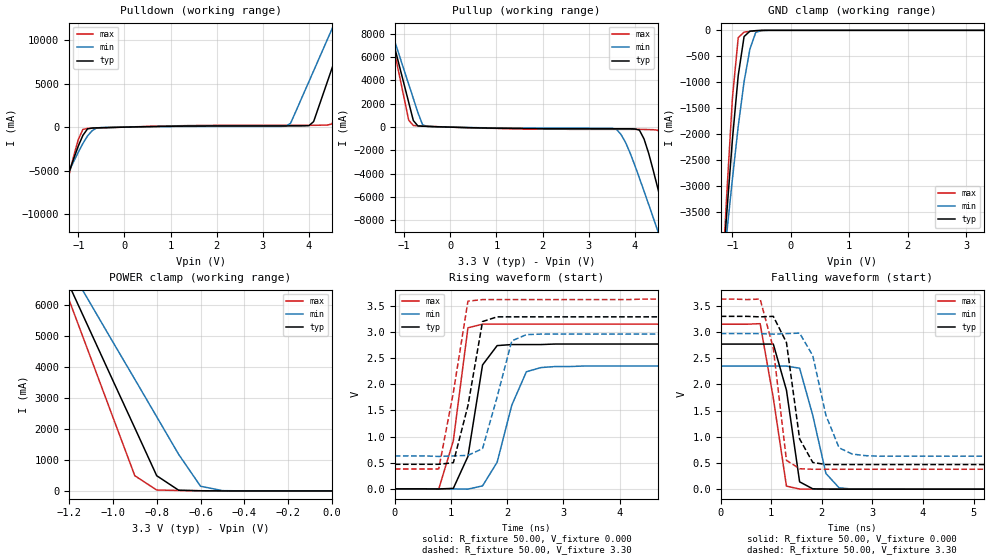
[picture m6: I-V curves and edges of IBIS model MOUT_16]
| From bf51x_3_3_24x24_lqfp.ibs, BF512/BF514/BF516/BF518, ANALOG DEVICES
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|   Model prw1216cdg_25
[Model]   MOUT_16
Model_type   I/O
Polarity   Non-Inverting
Enable   Active-Low
Vinl =   0.40V
Vinh =   2.40V
Vmeas =   1.20V
Cref =  50.00pF
Rref =   1.00M
Vref =  0.000V
C_comp   10.40pF   9.78pF   11.14pF
[Temperature Range]   25.00   0.12k   -40.00
[Voltage Range]   3.30V   2.97V   3.63V
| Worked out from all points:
|   slope of the pulldown table from 0 to 0.495 V, typ, clamps not added: 8.38 ohm
|   slope of the pullup table from 0 to 0.495 V, typ, clamps not added: 9.48 ohm
|   GND clamp passes 1 mA (typ) near -0.47 V on its own axis
|   POWER clamp passes 1 mA (typ) near -0.48 V on its own axis
|   rising waveform, R_fixture 50.00, V_fixture 0.000: 20-80 % time 265ps typ, 397ps min, 274ps max; typ from 0 V to 2.77 V
|   rising waveform, R_fixture 50.00, V_fixture 3.30: 20-80 % time 317ps typ, 354ps min, 314ps max; typ from 0.47 V to 3.3 V
|   falling waveform, R_fixture 50.00, V_fixture 0.000: 20-80 % time 295ps typ, 356ps min, 314ps max; typ from 2.77 V to 0 V
|   falling waveform, R_fixture 50.00, V_fixture 3.30: 20-80 % time 240ps typ, 380ps min, 282ps max; typ from 3.3 V to 0.47 V
[Pulldown]
| voltage   I(typ)   I(min)   I(max)
-3.3V     -39.48A    -29.51A    -53.35A
-1.8V     -14.84A    -11.96A    -18.94A
-1.6V     -11.58A    -9.64A     -14.4A
-1.5V     -9.96A     -8.49A     -12.14A
-900mV    -950mA     -1.88A     -260mA
-600mV    -82.91mA   -85.07mA   -100mA
3.5V      140mA      110mA      210mA
4.1V      640mA      6.46A      210mA
4.5V      6.79A      11.3A      370mA
4.8V      11.4A      14.93A     5.82A
5.1V      16.03A     18.56A     11.49A
6.6V      40.03A     36.83A     43.47A
[Pullup]
| voltage   I(typ)   I(min)   I(max)
-3.3V     40.04A     32.9A      54.08A
-1.4V     9.85A      9.75A      10.09A
-1.3V     8.3A       8.54A      8.19A
-900mV    2.12A      3.67A      600mA
-800mV    570mA      2.46A      140mA
-500mV    64mA       59.04mA    77.43mA
3.6V      -140mA     -170mA     -190mA
4.1V      -260mA     -4.38A     -190mA
4.5V      -5.28A     -8.93A     -260mA
4.7V      -8.47A     -11.24A    -2.83A
5V        -13.34A    -14.73A    -9.36A
6.6V      -39.63A    -33.49A    -45.97A
[GND_clamp]
| voltage   I(typ)   I(min)   I(max)
-3.3V     -39.48A    -29.51A    -53.35A
-1.2V     -5.13A     -5.06A     -5.38A
-1.1V     -3.58A     -3.95A     -3.24A
-1V       -2.11A     -2.87A     -1.31A
-900mV    -870mA     -1.85A     -140mA
-800mV    -120mA     -990mA     -34.33mA
-700mV    -16.65mA   -360mA     -19.89mA
-600mV    -6.04mA    -38.24mA   -8.58mA
-500mV    -1.3mA     -3.83mA    -1.78mA
3.3V      470pA      85.32uA    -93.44pA
[POWER_clamp]
| voltage   I(typ)   I(min)   I(max)
-3.3V     39.83A     32.68A     53.88A
-1.3V     8.18A      8.43A      8.05A
-1.2V     6.64A      7.22A      6.16A
-1.1V     5.1A       6.01A      4.27A
-900mV    2.03A      3.6A       490mA
-800mV    490mA      2.39A      29.14mA
-700mV    22.65mA    1.18A      14.91mA
-600mV    5.16mA     150mA      6.61mA
-500mV    1.28mA     9.49mA     1.67mA
0V        470pA      7.25nA     190pA
[Ramp]
| variable   typ   min   max
dV/dt_r   1.66/0.25n   1.41/0.35n   1.90/0.19n
dV/dt_f   1.70/0.22n   1.41/0.33n   1.95/0.19n
R_load = 50.00
[Rising Waveform]
R_fixture = 50.00
V_fixture = 0.000
V_fixture_min = 0.000
V_fixture_max = 0.000
L_fixture = 0.000H
C_fixture = 0.000F
| time   V(typ)   V(min)   V(max)
0s        0V         0V         0V
780ps     -2.04mV    -110uV     -5.87mV
1.04ns    9.44mV     -1.33mV    920mV
1.3ns     620mV      -5.08mV    3.08V
1.56ns    2.37V      56.93mV    3.15V
1.82ns    2.74V      510mV      3.15V
2.08ns    2.76V      1.6V       3.15V
2.34ns    2.76V      2.24V      3.15V
2.6ns     2.76V      2.32V      3.15V
13ns      2.77V      2.35V      3.15V
[Rising Waveform]
R_fixture = 50.00
V_fixture = 3.30
V_fixture_min = 2.97
V_fixture_max = 3.63
L_fixture = 0.000H
C_fixture = 0.000F
| time   V(typ)   V(min)   V(max)
0s        470mV      630mV      380mV
780ps     470mV      620mV      380mV
1.04ns    500mV      630mV      1.84V
1.3ns     1.59V      640mV      3.59V
1.56ns    3.2V       770mV      3.62V
1.82ns    3.29V      1.76V      3.62V
2.08ns    3.29V      2.83V      3.62V
2.34ns    3.29V      2.95V      3.62V
13ns      3.3V       2.97V      3.63V
[Falling Waveform]
R_fixture = 50.00
V_fixture = 0.000
V_fixture_min = 0.000
V_fixture_max = 0.000
L_fixture = 0.000H
C_fixture = 0.000F
| time   V(typ)   V(min)   V(max)
0s        2.77V      2.35V      3.15V
780ps     2.77V      2.35V      3.16V
1.04ns    2.77V      2.35V      1.74V
1.3ns     1.89V      2.35V      57.85mV
1.56ns    140mV      2.31V      2.6mV
1.82ns    6.55mV     1.41V      900uV
2.08ns    1.67mV     300mV      340uV
2.34ns    810uV      26.24mV    100uV
2.6ns     210uV      1.56mV     12.78uV
13ns      -9.11uV    4.49uV     6.03uV
[Falling Waveform]
R_fixture = 50.00
V_fixture = 3.30
V_fixture_min = 2.97
V_fixture_max = 3.63
L_fixture = 0.000H
C_fixture = 0.000F
| time   V(typ)   V(min)   V(max)
0s        3.3V       2.97V      3.63V
780ps     3.29V      2.97V      3.63V
1.04ns    3.3V       2.96V      2.69V
1.3ns     2.8V       2.97V      550mV
1.56ns    960mV      2.98V      390mV
1.82ns    510mV      2.55V      380mV
2.08ns    470mV      1.41V      380mV
2.34ns    470mV      790mV      380mV
2.6ns     470mV      670mV      380mV
13ns      470mV      630mV      380mV
